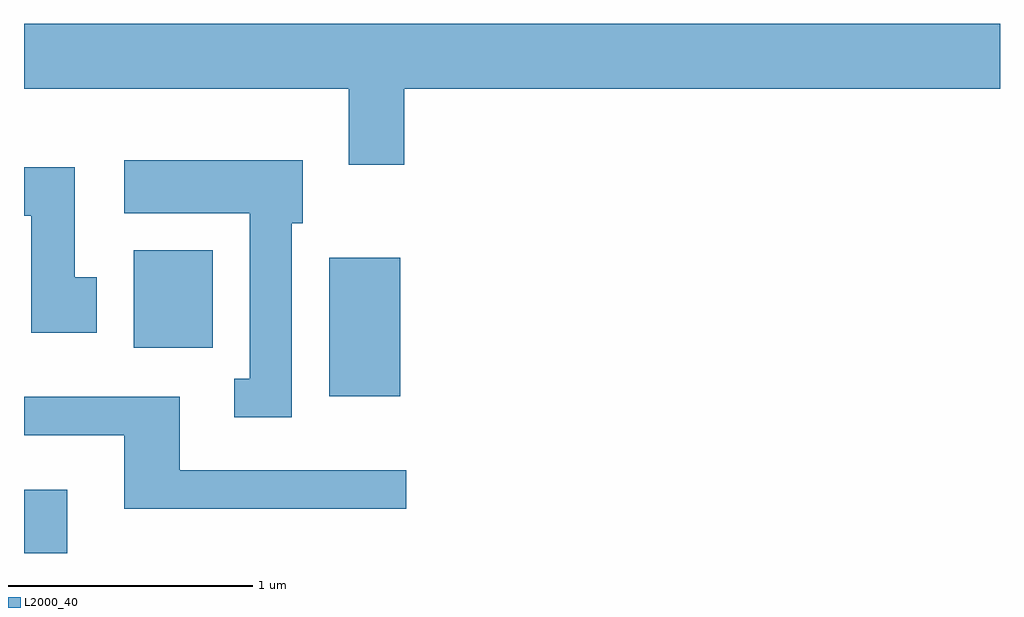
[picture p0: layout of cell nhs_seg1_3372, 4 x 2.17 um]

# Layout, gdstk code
import gdstk
lib = gdstk.Library(unit=1e-6, precision=1e-09)
def R(c, l, rs):  # rectangles x0, y0, x1, y1
    for r in rs: c.add(gdstk.rectangle(r[:2], r[2:], *l))
def P(c, l, *ps):  # polygons
    for p in ps: c.add(gdstk.Polygon(p, *l))
L2000_40 = (2000, 40)

nhs_seg1_3372 = lib.new_cell('nhs_seg1_3372')
R(nhs_seg1_3372, L2000_40, [(287.611,857.712,287.789,857.974), (288.861,858.356,289.154,858.924), (288.061,858.556,288.384,858.954)])
P(nhs_seg1_3372, L2000_40, [(289.169,859.616),(291.611,859.616),(291.611,859.884),(287.611,859.884),(287.611,859.616),(288.941,859.616),(288.941,859.306),(289.169,859.306)],
  [(288.709,859.066),(288.754,859.066),(288.754,859.324),(288.021,859.324),(288.021,859.106),(288.536,859.106),(288.536,858.429),(288.473,858.429),(288.473,858.271),(288.709,858.271)],
  [(287.909,858.844),(287.819,858.844),(287.819,859.294),(287.611,859.294),(287.611,859.096),(287.641,859.096),(287.641,858.616),(287.909,858.616)],
  [(289.178,858.054),(288.249,858.054),(288.249,858.354),(287.611,858.354),(287.611,858.196),(288.021,858.196),(288.021,857.896),(289.178,857.896)])

lib.write_gds('nhs_seg1_3372.gds')
